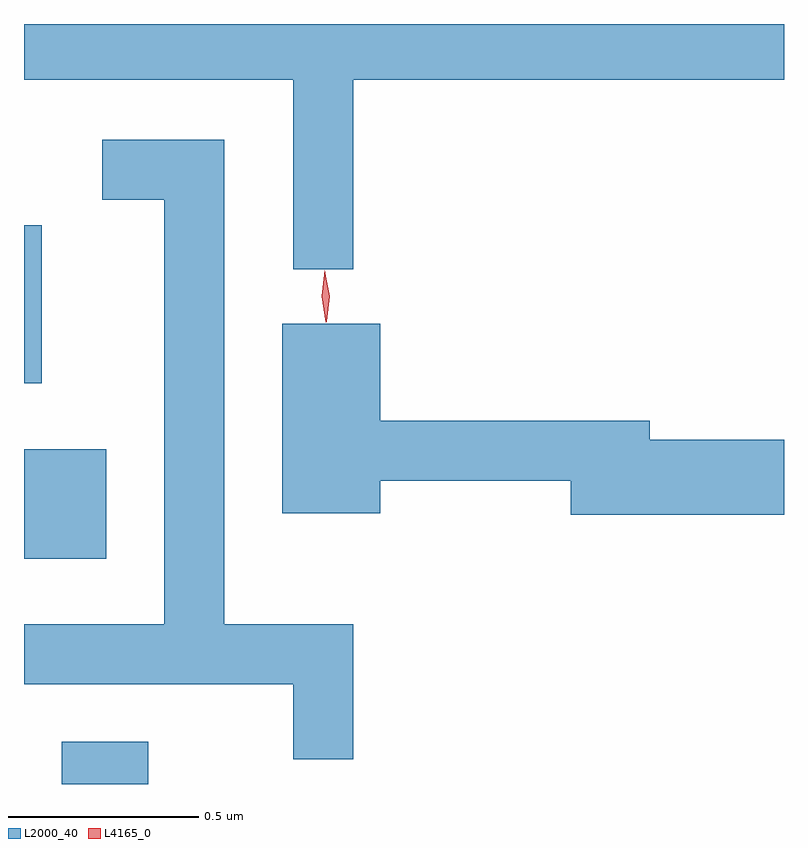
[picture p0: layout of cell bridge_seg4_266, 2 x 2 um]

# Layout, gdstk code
import gdstk
lib = gdstk.Library(unit=1e-6, precision=1e-09)
def R(c, l, rs):  # rectangles x0, y0, x1, y1
    for r in rs: c.add(gdstk.rectangle(r[:2], r[2:], *l))
def P(c, l, *ps):  # polygons
    for p in ps: c.add(gdstk.Polygon(p, *l))
L2000_40 = (2000, 40)
L4165_0 = (4165, 0)

bridge_seg4_266 = lib.new_cell('bridge_seg4_266')
R(bridge_seg4_266, L2000_40, [(730.446,1330.623,730.674,1330.734), (730.347,1331.216,730.564,1331.504), (730.347,1331.678,730.394,1332.094)])
P(bridge_seg4_266, L2000_40, [(731.214,1332.476),(732.347,1332.476),(732.347,1332.623),(730.347,1332.623),(730.347,1332.476),(731.056,1332.476),(731.056,1331.978),(731.214,1331.978)],
  [(731.214,1331.044),(730.874,1331.044),(730.874,1332.319),(730.553,1332.319),(730.553,1332.161),(730.716,1332.161),(730.716,1331.044),(730.347,1331.044),(730.347,1330.886),(731.056,1330.886),(731.056,1330.688),(731.214,1330.688)],
  [(732.347,1331.529),(731.994,1331.529),(731.994,1331.579),(731.284,1331.579),(731.284,1331.834),(731.026,1331.834),(731.026,1331.336),(731.284,1331.336),(731.284,1331.421),(731.786,1331.421),(731.786,1331.331),(732.347,1331.331)])
P(bridge_seg4_266, L4165_0, [(731.141,1331.838),(731.13,1331.906),(731.138,1331.975),(731.139,1331.975),(731.139,1331.975),(731.15,1331.907),(731.142,1331.838),(731.142,1331.838)],
  [(731.144,1331.84),(731.143,1331.841),(731.131,1331.906),(731.138,1331.972),(731.139,1331.972),(731.139,1331.972),(731.152,1331.907),(731.144,1331.841)])

lib.write_gds('bridge_seg4_266.gds')
